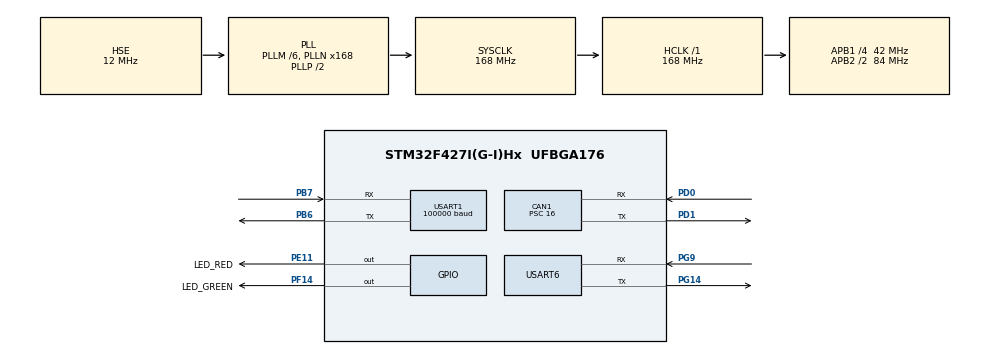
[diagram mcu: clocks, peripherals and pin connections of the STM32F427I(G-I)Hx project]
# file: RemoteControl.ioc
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CAN1.BS1=CAN_BS1_9TQ
CAN1.BS2=CAN_BS2_3TQ
CAN1.CalculateTimeQuantum=380.95238095238096
CAN1.NART=ENABLE
CAN1.Prescaler=16
CAN1.TXFP=ENABLE
Dma.Request0=USART1_RX
Dma.USART1_RX.0.Direction=DMA_PERIPH_TO_MEMORY
Dma.USART1_RX.0.FIFOMode=DMA_FIFOMODE_DISABLE
Dma.USART1_RX.0.Instance=DMA2_Stream2
Dma.USART1_RX.0.MemDataAlignment=DMA_MDATAALIGN_BYTE
Dma.USART1_RX.0.MemInc=DMA_MINC_ENABLE
Dma.USART1_RX.0.Mode=DMA_CIRCULAR
Dma.USART1_RX.0.PeriphDataAlignment=DMA_PDATAALIGN_BYTE
Dma.USART1_RX.0.PeriphInc=DMA_PINC_DISABLE
Dma.USART1_RX.0.Priority=DMA_PRIORITY_LOW
Mcu.Family=STM32F4
Mcu.Name=STM32F427I(G-I)Hx
Mcu.Package=UFBGA176
NVIC.CAN1_RX0_IRQn=true\:1\:0\:true\:false\:true\:true
NVIC.CAN1_TX_IRQn=true\:0\:0\:false\:false\:true\:true
NVIC.DMA2_Stream2_IRQn=true\:0\:0\:false\:false\:true\:false
NVIC.PriorityGroup=NVIC_PRIORITYGROUP_4
NVIC.RCC_IRQn=true\:0\:0\:false\:false\:true\:true
NVIC.USART1_IRQn=true\:0\:0\:false\:false\:true\:true
NVIC.USART6_IRQn=true\:0\:0\:false\:false\:true\:true
PA13.Mode=Serial_Wire
PA13.Signal=SYS_JTMS-SWDIO
PA14.Mode=Serial_Wire
PA14.Signal=SYS_JTCK-SWCLK
PB6.Mode=Asynchronous
PB6.Signal=USART1_TX
PB7.Mode=Asynchronous
PB7.Signal=USART1_RX
PD0.Mode=Master
PD0.Signal=CAN1_RX
PD1.Mode=Master
PD1.Signal=CAN1_TX
PE11.GPIO_Label=LED_RED
PE11.Signal=GPIO_Output
PF14.GPIO_Label=LED_GREEN
PF14.Signal=GPIO_Output
PG14.Mode=Asynchronous
PG14.Signal=USART6_TX
PG9.Mode=Asynchronous
PG9.Signal=USART6_RX
PH0/OSC_IN.Mode=HSE-External-Oscillator
PH0/OSC_IN.Signal=RCC_OSC_IN
PH1/OSC_OUT.Mode=HSE-External-Oscillator
PH1/OSC_OUT.Signal=RCC_OSC_OUT
ProjectManager.HeapSize=0x200
ProjectManager.StackSize=0x400
ProjectManager.TargetToolchain=MDK-ARM V5
RCC.48MHZClocksFreq_Value=84000000
RCC.AHBFreq_Value=168000000
RCC.APB1CLKDivider=RCC_HCLK_DIV4
RCC.APB1Freq_Value=42000000
RCC.APB1TimFreq_Value=84000000
RCC.APB2CLKDivider=RCC_HCLK_DIV2
RCC.APB2Freq_Value=84000000
RCC.APB2TimFreq_Value=168000000
RCC.CortexFreq_Value=168000000
RCC.HCLKFreq_Value=168000000
RCC.HSE_VALUE=12000000
RCC.HSI_VALUE=16000000
RCC.LSE_VALUE=32768
RCC.PLLM=6
RCC.PLLN=168
RCC.PLLSourceVirtual=RCC_PLLSOURCE_HSE
RCC.SYSCLKFreq_VALUE=168000000
RCC.SYSCLKSource=RCC_SYSCLKSOURCE_PLLCLK
RCC.VCOOutputFreq_Value=336000000
USART1.BaudRate=100000
USART1.Parity=PARITY_EVEN
USART1.VirtualMode=VM_ASYNC
USART6.VirtualMode=VM_ASYNC
VP_TIM6_VS_ClockSourceINT.Mode=Enable_Timer
board=RemoteControl

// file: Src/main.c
/**
  ******************************************************************************
  * @file           : main.c
  * @brief          : Main program body
  ******************************************************************************
  ** This notice applies to any and all portions of this file
  * that are not between comment pairs USER CODE BEGIN and
  * USER CODE END. Other portions of this file, whether
  * inserted by the user or by software development tools
  * are owned by their respective copyright owners.
  *
  * COPYRIGHT(c) 2018 STMicroelectronics
  *
  * Redistribution and use in source and binary forms, with or without modification,
  * are permitted provided that the following conditions are met:
  *   1. Redistributions of source code must retain the above copyright notice,
  *      this list of conditions and the following disclaimer.
  *   2. Redistributions in binary form must reproduce the above copyright notice,
  *      this list of conditions and the following disclaimer in the documentation
  *      and/or other materials provided with the distribution.
  *   3. Neither the name of STMicroelectronics nor the names of its contributors
  *      may be used to endorse or promote products derived from this software
  *      without specific prior written permission.
  *
  * THIS SOFTWARE IS PROVIDED BY THE COPYRIGHT HOLDERS AND CONTRIBUTORS "AS IS"
  * AND ANY EXPRESS OR IMPLIED WARRANTIES, INCLUDING, BUT NOT LIMITED TO, THE
  * IMPLIED WARRANTIES OF MERCHANTABILITY AND FITNESS FOR A PARTICULAR PURPOSE ARE
  * DISCLAIMED. IN NO EVENT SHALL THE COPYRIGHT HOLDER OR CONTRIBUTORS BE LIABLE
  * FOR ANY DIRECT, INDIRECT, INCIDENTAL, SPECIAL, EXEMPLARY, OR CONSEQUENTIAL
  * DAMAGES (INCLUDING, BUT NOT LIMITED TO, PROCUREMENT OF SUBSTITUTE GOODS OR
  * SERVICES; LOSS OF USE, DATA, OR PROFITS; OR BUSINESS INTERRUPTION) HOWEVER
  * CAUSED AND ON ANY THEORY OF LIABILITY, WHETHER IN CONTRACT, STRICT LIABILITY,
  * OR TORT (INCLUDING NEGLIGENCE OR OTHERWISE) ARISING IN ANY WAY OUT OF THE USE
  * OF THIS SOFTWARE, EVEN IF ADVISED OF THE POSSIBILITY OF SUCH DAMAGE.
  *
  ******************************************************************************
  */
#include "main.h"
#include "stm32f4xx_hal.h"
#include "can.h"
#include "dma.h"
#include "tim.h"
#include "usart.h"
#include "gpio.h"

/* USER CODE BEGIN Includes */
//rc.h has already be included in can.h, no need to include rc.h anymore
/* USER CODE END Includes */

/* USER CODE BEGIN PV */
/* Private variables ---------------------------------------------------------*/
extern rc_info_t rc;
extern chassis_ctrl chassis_ref;
extern gimbal_ctrl gimbal_ref;
char buf[200];
int count;
uint8_t canRxMsg[8];
static void MX_CAN1_Init(void);
/* USER CODE END PV */

void SystemClock_Config(void);

/* USER CODE BEGIN PFP */
/* Private function prototypes -----------------------------------------------*/

/* USER CODE END PFP */

int main(void)
{

  /* MCU Configuration----------------------------------------------------------*/

  /* Reset of all peripherals, Initializes the Flash interface and the Systick. */
  HAL_Init();

  /* Configure the system clock */
  SystemClock_Config();

  /* Initialize all configured peripherals */
  MX_GPIO_Init();
  MX_DMA_Init();
  MX_USART6_UART_Init();
  MX_USART1_UART_Init();
  MX_CAN1_Init();
	CAN_Initialize();
  MX_TIM6_Init();
  /* USER CODE BEGIN 2 */
	led_off();
	/* open dbus uart receive it */
	dbus_uart_init();
	Can chassis;
	Device_Initialize(&chassis,0x200, CAN_ID_STD, CAN_RTR_DATA, 8, 0x201, 8);
  /* USER CODE END 2 */

  /* Infinite loop */
  while (1)
  {

  /* USER CODE BEGIN 3 */
		set_Chassis_Pid_Speed(chassis, &chassis_ref, &rc);
	  sprintf(buf, "CH1: %4d  CH2: %4d  CH3: %4d  CH4: %4d  SW1: %1d  SW2: %1d \n", rc.ch1, rc.ch2, rc.ch3, rc.ch4, rc.sw1, rc.sw2);
		//HAL_UART_Transmit(&huart6, (uint8_t *)buf, (COUNTOF(buf) - 1), 55);
		;

		if (count==10)
		{
			HAL_GPIO_TogglePin(LED_GREEN_GPIO_Port, LED_GREEN_Pin);
			count=0;
		}
  }
  /* USER CODE END 3 */

}

void SystemClock_Config(void)
{

  RCC_OscInitTypeDef RCC_OscInitStruct;
  RCC_ClkInitTypeDef RCC_ClkInitStruct;

    /**Configure the main internal regulator output voltage
    */
  __HAL_RCC_PWR_CLK_ENABLE();

  __HAL_PWR_VOLTAGESCALING_CONFIG(PWR_REGULATOR_VOLTAGE_SCALE1);

    /**Initializes the CPU, AHB and APB busses clocks
    */
  RCC_OscInitStruct.OscillatorType = RCC_OSCILLATORTYPE_HSE;
  RCC_OscInitStruct.HSEState = RCC_HSE_ON;
  RCC_OscInitStruct.PLL.PLLState = RCC_PLL_ON;
  RCC_OscInitStruct.PLL.PLLSource = RCC_PLLSOURCE_HSE;
  RCC_OscInitStruct.PLL.PLLM = 6;
  RCC_OscInitStruct.PLL.PLLN = 168;
  RCC_OscInitStruct.PLL.PLLP = RCC_PLLP_DIV2;
  RCC_OscInitStruct.PLL.PLLQ = 4;
  if (HAL_RCC_OscConfig(&RCC_OscInitStruct) != HAL_OK)
  {
    _Error_Handler(__FILE__, __LINE__);
  }

    /**Initializes the CPU, AHB and APB busses clocks
    */
  RCC_ClkInitStruct.ClockType = RCC_CLOCKTYPE_HCLK|RCC_CLOCKTYPE_SYSCLK
                              |RCC_CLOCKTYPE_PCLK1|RCC_CLOCKTYPE_PCLK2;
  RCC_ClkInitStruct.SYSCLKSource = RCC_SYSCLKSOURCE_PLLCLK;
  RCC_ClkInitStruct.AHBCLKDivider = RCC_SYSCLK_DIV1;
  RCC_ClkInitStruct.APB1CLKDivider = RCC_HCLK_DIV4;
  RCC_ClkInitStruct.APB2CLKDivider = RCC_HCLK_DIV2;

  if (HAL_RCC_ClockConfig(&RCC_ClkInitStruct, FLASH_LATENCY_5) != HAL_OK)
  {
    _Error_Handler(__FILE__, __LINE__);
  }

    /**Configure the Systick interrupt time
    */
  HAL_SYSTICK_Config(HAL_RCC_GetHCLKFreq()/1000);

    /**Configure the Systick
    */
  HAL_SYSTICK_CLKSourceConfig(SYSTICK_CLKSOURCE_HCLK);

  /* SysTick_IRQn interrupt configuration */
  HAL_NVIC_SetPriority(SysTick_IRQn, 0, 0);
}

/* CAN1 init function */
static void MX_CAN1_Init(void)
{

  hcan1.Instance = CAN1;
  hcan1.Init.Prescaler = 3;
  hcan1.Init.Mode = CAN_MODE_NORMAL;
  hcan1.Init.SyncJumpWidth = CAN_SJW_1TQ;
  hcan1.Init.TimeSeg1 = CAN_BS1_9TQ;
  hcan1.Init.TimeSeg2 = CAN_BS2_4TQ;
  hcan1.Init.TimeTriggeredMode = DISABLE;
  hcan1.Init.AutoBusOff = DISABLE;
  hcan1.Init.AutoWakeUp = DISABLE;
  hcan1.Init.AutoRetransmission = DISABLE;
  hcan1.Init.ReceiveFifoLocked = DISABLE;
  hcan1.Init.TransmitFifoPriority = ENABLE;
  if (HAL_CAN_Init(&hcan1) != HAL_OK)
  {
    _Error_Handler(__FILE__, __LINE__);
  }

}

void _Error_Handler(char *file, int line)
{
  while(1)
  {
  }
}

/************************ (C) COPYRIGHT STMicroelectronics *****END OF FILE****/
